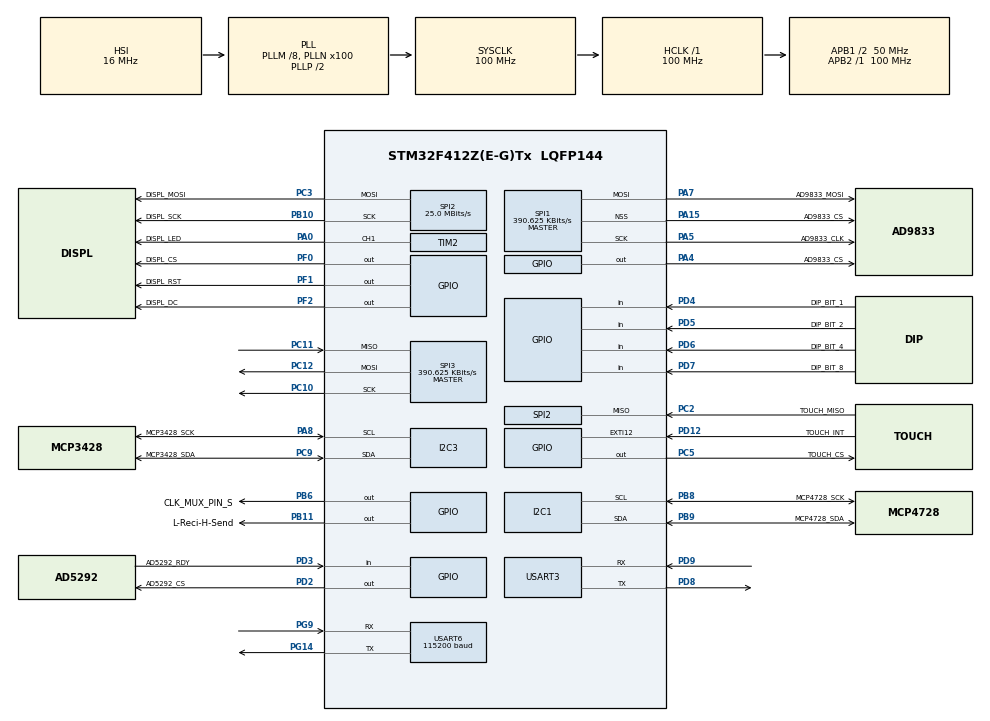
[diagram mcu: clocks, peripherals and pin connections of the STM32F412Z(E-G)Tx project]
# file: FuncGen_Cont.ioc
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Dma.Request0=SPI2_TX
Dma.SPI2_TX.0.Direction=DMA_MEMORY_TO_PERIPH
Dma.SPI2_TX.0.FIFOMode=DMA_FIFOMODE_DISABLE
Dma.SPI2_TX.0.Instance=DMA1_Stream4
Dma.SPI2_TX.0.MemDataAlignment=DMA_MDATAALIGN_BYTE
Dma.SPI2_TX.0.MemInc=DMA_MINC_ENABLE
Dma.SPI2_TX.0.Mode=DMA_NORMAL
Dma.SPI2_TX.0.PeriphDataAlignment=DMA_PDATAALIGN_BYTE
Dma.SPI2_TX.0.PeriphInc=DMA_PINC_DISABLE
Dma.SPI2_TX.0.Priority=DMA_PRIORITY_LOW
IWDG.Prescaler=IWDG_PRESCALER_32
Mcu.Family=STM32F4
Mcu.Name=STM32F412Z(E-G)Tx
Mcu.Package=LQFP144
NVIC.DMA1_Stream4_IRQn=true\:0\:0\:false\:false\:true\:false\:true\:true
NVIC.EXTI15_10_IRQn=true\:2\:0\:true\:false\:true\:true\:true\:true
NVIC.PriorityGroup=NVIC_PRIORITYGROUP_4
NVIC.SPI2_IRQn=true\:1\:0\:true\:false\:true\:true\:true\:true
NVIC.SPI3_IRQn=true\:1\:0\:true\:false\:true\:true\:true\:true
NVIC.TIM3_IRQn=true\:2\:0\:true\:false\:true\:true\:true\:true
NVIC.TIM5_IRQn=true\:3\:0\:true\:false\:true\:true\:true\:true
NVIC.USART3_IRQn=true\:3\:0\:true\:false\:true\:true\:true\:true
NVIC.USART6_IRQn=true\:0\:0\:true\:false\:true\:true\:true\:true
PA0.GPIO_Label=DISPL_LED
PA0.GPIO_Speed=GPIO_SPEED_FREQ_VERY_HIGH
PA0.Signal=S_TIM2_CH1_ETR
PA15.GPIO_Label=AD9833_CS
PA15.Mode=NSS_Signal_Hard_Output
PA15.Signal=SPI1_NSS
PA4.GPIO_Label=AD9833_CS
PA4.GPIO_Speed=GPIO_SPEED_FREQ_LOW
PA4.PinState=GPIO_PIN_SET
PA4.Signal=GPIO_Output
PA5.GPIO_Label=AD9833_CLK
PA5.GPIO_Speed=GPIO_SPEED_FREQ_LOW
PA5.Mode=TX_Only_Simplex_Unidirect_Master
PA5.Signal=SPI1_SCK
PA7.GPIO_Label=AD9833_MOSI
PA7.GPIO_Speed=GPIO_SPEED_FREQ_LOW
PA7.Mode=TX_Only_Simplex_Unidirect_Master
PA7.Signal=SPI1_MOSI
PA8.GPIO_Label=MCP3428_SCK
PA8.Mode=I2C
PA8.Signal=I2C3_SCL
PB10.GPIO_Label=DISPL_SCK
PB10.GPIO_Speed=GPIO_SPEED_FREQ_VERY_HIGH
PB10.Mode=Full_Duplex_Master
PB10.Signal=SPI2_SCK
PB11.GPIO_Label=L-Reci-H-Send
PB11.GPIO_Speed=GPIO_SPEED_FREQ_LOW
PB11.Signal=GPIO_Output
PB6.GPIO_Label=CLK_MUX_PIN_S
PB6.PinState=GPIO_PIN_SET
PB6.Signal=GPIO_Output
PB8.GPIO_Label=MCP4728_SCK
PB8.Mode=I2C
PB8.Signal=I2C1_SCL
PB9.GPIO_Label=MCP4728_SDA
PB9.Mode=I2C
PB9.Signal=I2C1_SDA
PC10.Mode=Full_Duplex_Master
PC10.Signal=SPI3_SCK
PC11.Mode=Full_Duplex_Master
PC11.Signal=SPI3_MISO
PC12.Mode=Full_Duplex_Master
PC12.Signal=SPI3_MOSI
PC2.GPIO_Label=TOUCH_MISO
PC2.GPIO_Speed=GPIO_SPEED_FREQ_VERY_HIGH
PC2.Mode=Full_Duplex_Master
PC2.Signal=SPI2_MISO
PC3.GPIO_Label=DISPL_MOSI
PC3.GPIO_Speed=GPIO_SPEED_FREQ_VERY_HIGH
PC3.Mode=Full_Duplex_Master
PC3.Signal=SPI2_MOSI
PC5.GPIO_Label=TOUCH_CS
PC5.GPIO_Speed=GPIO_SPEED_FREQ_VERY_HIGH
PC5.PinState=GPIO_PIN_SET
PC5.Signal=GPIO_Output
PC9.GPIO_Label=MCP3428_SDA
PC9.Mode=I2C
PC9.Signal=I2C3_SDA
PD12.GPIO_Label=TOUCH_INT
PD12.GPIO_ModeDefaultEXTI=GPIO_MODE_IT_FALLING
PD12.GPIO_PuPd=GPIO_PULLUP
PD12.Signal=GPXTI12
PD2.GPIO_Label=AD5292_CS
PD2.GPIO_Speed=GPIO_SPEED_FREQ_LOW
PD2.PinState=GPIO_PIN_RESET
PD2.Signal=GPIO_Output
PD3.GPIO_Label=AD5292_RDY
PD3.GPIO_PuPd=GPIO_NOPULL
PD3.Signal=GPIO_Input
PD4.GPIO_Label=DIP_BIT_1
PD4.GPIO_PuPd=GPIO_PULLUP
PD4.Signal=GPIO_Input
PD5.GPIO_Label=DIP_BIT_2
PD5.GPIO_PuPd=GPIO_PULLUP
PD5.Signal=GPIO_Input
PD6.GPIO_Label=DIP_BIT_4
PD6.GPIO_PuPd=GPIO_PULLUP
PD6.Signal=GPIO_Input
PD7.GPIO_Label=DIP_BIT_8
PD7.GPIO_PuPd=GPIO_PULLUP
PD7.Signal=GPIO_Input
PD8.Mode=Asynchronous
PD8.Signal=USART3_TX
PD9.Mode=Asynchronous
PD9.Signal=USART3_RX
PF0.GPIO_Label=DISPL_CS
PF0.GPIO_Speed=GPIO_SPEED_FREQ_VERY_HIGH
PF0.PinState=GPIO_PIN_SET
PF0.Signal=GPIO_Output
PF1.GPIO_Label=DISPL_RST
PF1.GPIO_Speed=GPIO_SPEED_FREQ_LOW
PF1.Signal=GPIO_Output
PF2.GPIO_Label=DISPL_DC
PF2.GPIO_Speed=GPIO_SPEED_FREQ_VERY_HIGH
PF2.Signal=GPIO_Output
PG14.GPIO_Speed=GPIO_SPEED_FREQ_LOW
PG14.Mode=Asynchronous
PG14.Signal=USART6_TX
PG9.GPIO_PuPd=GPIO_NOPULL
PG9.GPIO_Speed=GPIO_SPEED_FREQ_LOW
PG9.Mode=Asynchronous
PG9.Signal=USART6_RX
ProjectManager.HeapSize=0x200
ProjectManager.StackSize=0x400
ProjectManager.TargetToolchain=STM32CubeIDE
RCC.AHBFreq_Value=100000000
RCC.APB1CLKDivider=RCC_HCLK_DIV2
RCC.APB1Freq_Value=50000000
RCC.APB1TimFreq_Value=100000000
RCC.APB2Freq_Value=100000000
RCC.APB2TimFreq_Value=100000000
RCC.CortexFreq_Value=100000000
RCC.HCLKFreq_Value=100000000
RCC.PLLM=8
RCC.PLLN=100
RCC.RCC_MCO2Source=RCC_MCO2SOURCE_HSE
RCC.RCC_TIM_PRescaler_Selection=RCC_TIMPRES_ACTIVATED
RCC.SYSCLKFreq_VALUE=100000000
RCC.SYSCLKSource=RCC_SYSCLKSOURCE_PLLCLK
RCC.USBFreq_Value=100000000
RCC.VCOOutputFreq_Value=200000000
SH.S_TIM2_CH1_ETR.0=TIM2_CH1,PWM Generation1 CH1
SPI1.BaudRatePrescaler=SPI_BAUDRATEPRESCALER_256
SPI1.CLKPolarity=SPI_POLARITY_HIGH
SPI1.CalculateBaudRate=390.625 KBits/s
SPI1.DataSize=SPI_DATASIZE_16BIT
SPI1.Direction=SPI_DIRECTION_2LINES
SPI1.Mode=SPI_MODE_MASTER
SPI1.VirtualNSS=VM_NSSHARD
SPI1.VirtualType=VM_MASTER
SPI2.BaudRatePrescaler=SPI_BAUDRATEPRESCALER_2
SPI2.CalculateBaudRate=25.0 MBits/s
SPI2.Direction=SPI_DIRECTION_2LINES
SPI2.Mode=SPI_MODE_MASTER
SPI2.VirtualType=VM_MASTER
SPI3.BaudRatePrescaler=SPI_BAUDRATEPRESCALER_128
SPI3.CLKPhase=SPI_PHASE_2EDGE
SPI3.CLKPolarity=SPI_POLARITY_LOW
SPI3.CalculateBaudRate=390.625 KBits/s
SPI3.DataSize=SPI_DATASIZE_16BIT
SPI3.Direction=SPI_DIRECTION_2LINES
SPI3.Mode=SPI_MODE_MASTER
SPI3.VirtualType=VM_MASTER
STMicroelectronics.X-CUBE-TOUCHGFX.4.23.0.ApplicationCcGraphicsJjApplication=TouchGFXOoGenerator
STMicroelectronics.X-CUBE-TOUCHGFX.4.23.0.tgfx_buffering_strategy=Partial
STMicroelectronics.X-CUBE-TOUCHGFX.4.23.0.tgfx_custom_height=480
STMicroelectronics.X-CUBE-TOUCHGFX.4.23.0.tgfx_custom_width=320
STMicroelectronics.X-CUBE-TOUCHGFX.4.23.0_IsPackSelfContextualization=true
TIM2.Channel-PWM\ Generation1\ CH1=TIM_CHANNEL_1
TIM2.Period=100
TIM2.Prescaler=10000
TIM3.Period=65535
TIM5.AutoReloadPreload=TIM_AUTORELOAD_PRELOAD_ENABLE
TIM5.Period=9999
TIM5.Prescaler=9999
USART3.VirtualMode=VM_ASYNC
USART6.BaudRate=115200
USART6.VirtualMode=VM_ASYNC
VP_CRC_VS_CRC.Mode=CRC_Activate
VP_IWDG_VS_IWDG.Mode=IWDG_Activate
VP_STMicroelectronics.X-CUBE-TOUCHGFX_VS_GraphicsJjApplication_4.23.0.Mode=GraphicsJjApplication
VP_TIM3_VS_ClockSourceINT.Mode=Internal
VP_TIM5_VS_ClockSourceINT.Mode=Internal
board=custom

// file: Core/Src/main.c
/* USER CODE BEGIN Header */
/**
  ******************************************************************************
  * @file           : main.c
  * @brief          : Main program body
  ******************************************************************************
  * @attention
  *
  * Copyright (c) 2025 STMicroelectronics.
  * All rights reserved.
  *
  * This software is licensed under terms that can be found in the LICENSE file
  * in the root directory of this software component.
  * If no LICENSE file comes with this software, it is provided AS-IS.
  *
  ******************************************************************************
  */
/* USER CODE END Header */
#include "main.h"
#include "app_touchgfx.h"

/* USER CODE BEGIN Includes */

#include <stdio.h>
#include "meas_timer.h"
#include "app_remote.h"

/* USER CODE END Includes */

CRC_HandleTypeDef hcrc;

I2C_HandleTypeDef hi2c1;
I2C_HandleTypeDef hi2c3;

IWDG_HandleTypeDef hiwdg;

SPI_HandleTypeDef hspi1;
SPI_HandleTypeDef hspi2;
SPI_HandleTypeDef hspi3;
DMA_HandleTypeDef hdma_spi2_tx;

TIM_HandleTypeDef htim2;
TIM_HandleTypeDef htim3;
TIM_HandleTypeDef htim5;

UART_HandleTypeDef huart3;
UART_HandleTypeDef huart6;

void SystemClock_Config(void);
void PeriphCommonClock_Config(void);
static void MX_GPIO_Init(void);
static void MX_DMA_Init(void);
static void MX_SPI2_Init(void);
static void MX_CRC_Init(void);
static void MX_TIM3_Init(void);
static void MX_TIM2_Init(void);
static void MX_SPI1_Init(void);
static void MX_SPI3_Init(void);
static void MX_I2C1_Init(void);
static void MX_I2C3_Init(void);
static void MX_TIM5_Init(void);
static void MX_USART6_UART_Init(void);
static void MX_USART3_UART_Init(void);
static void MX_IWDG_Init(void);

int main(void)
{

  /* MCU Configuration--------------------------------------------------------*/

  /* Reset of all peripherals, Initializes the Flash interface and the Systick. */
  HAL_Init();

  /* Configure the system clock */
  SystemClock_Config();

  /* Configure the peripherals common clocks */
  PeriphCommonClock_Config();

  /* Initialize all configured peripherals */
  MX_GPIO_Init();
  MX_DMA_Init();
  MX_SPI2_Init();
  MX_CRC_Init();
  MX_TIM3_Init();
  MX_TIM2_Init();
  MX_SPI1_Init();
  MX_SPI3_Init();
  MX_I2C1_Init();
  MX_I2C3_Init();
  MX_TIM5_Init();
  MX_USART6_UART_Init();
  MX_USART3_UART_Init();
  MX_IWDG_Init();
  MX_TouchGFX_Init();
  /* USER CODE BEGIN 2 */
  HAL_Delay(200);

  Displ_Init(Displ_Orientat_180);			// initialize display controller - set orientation parameter as per TouchGFX setup
  HAL_Delay(200);
  //HAL_TIM_PWM_Start(&htim2, TIM_CHANNEL_1);
  //__HAL_TIM_SET_COMPARE(&htim2, TIM_CHANNEL_1, 100);
  HAL_Delay(200);
  MeasTimer_Init(&htim5);
  // TouchGFX 用タイマー IRQ をスタート
  HAL_TIM_Base_Start_IT(&TGFX_T);
  HAL_Delay(200);
  Displ_BackLight('I');  //バックライト初期化
  HAL_Delay(200);
  Displ_BackLight('1');  //輝度最大
  HAL_Delay(200);

  AppRemote_Init();

  /* USER CODE END 2 */

  /* Infinite loop */
  /* USER CODE BEGIN WHILE */
  while (1)
  {

	  //if (Touch_GotATouch(0))
		  //touchgfxSignalVSync();
    /* USER CODE END WHILE */

  MX_TouchGFX_Process();
    /* USER CODE BEGIN 3 */
  AppRemote_Process();
  HAL_IWDG_Refresh(&hiwdg);
  }

  /* USER CODE END 3 */
}

void SystemClock_Config(void)
{
  RCC_OscInitTypeDef RCC_OscInitStruct = {0};
  RCC_ClkInitTypeDef RCC_ClkInitStruct = {0};

  /** Configure the main internal regulator output voltage
  */
  __HAL_RCC_PWR_CLK_ENABLE();
  __HAL_PWR_VOLTAGESCALING_CONFIG(PWR_REGULATOR_VOLTAGE_SCALE1);

  /** Initializes the RCC Oscillators according to the specified parameters
  * in the RCC_OscInitTypeDef structure.
  */
  RCC_OscInitStruct.OscillatorType = RCC_OSCILLATORTYPE_HSI|RCC_OSCILLATORTYPE_LSI;
  RCC_OscInitStruct.HSIState = RCC_HSI_ON;
  RCC_OscInitStruct.HSICalibrationValue = RCC_HSICALIBRATION_DEFAULT;
  RCC_OscInitStruct.LSIState = RCC_LSI_ON;
  RCC_OscInitStruct.PLL.PLLState = RCC_PLL_ON;
  RCC_OscInitStruct.PLL.PLLSource = RCC_PLLSOURCE_HSI;
  RCC_OscInitStruct.PLL.PLLM = 8;
  RCC_OscInitStruct.PLL.PLLN = 100;
  RCC_OscInitStruct.PLL.PLLP = RCC_PLLP_DIV2;
  RCC_OscInitStruct.PLL.PLLQ = 2;
  RCC_OscInitStruct.PLL.PLLR = 2;
  if (HAL_RCC_OscConfig(&RCC_OscInitStruct) != HAL_OK)
  {
    Error_Handler();
  }

  /** Initializes the CPU, AHB and APB buses clocks
  */
  RCC_ClkInitStruct.ClockType = RCC_CLOCKTYPE_HCLK|RCC_CLOCKTYPE_SYSCLK
                              |RCC_CLOCKTYPE_PCLK1|RCC_CLOCKTYPE_PCLK2;
  RCC_ClkInitStruct.SYSCLKSource = RCC_SYSCLKSOURCE_PLLCLK;
  RCC_ClkInitStruct.AHBCLKDivider = RCC_SYSCLK_DIV1;
  RCC_ClkInitStruct.APB1CLKDivider = RCC_HCLK_DIV2;
  RCC_ClkInitStruct.APB2CLKDivider = RCC_HCLK_DIV1;

  if (HAL_RCC_ClockConfig(&RCC_ClkInitStruct, FLASH_LATENCY_3) != HAL_OK)
  {
    Error_Handler();
  }
}

void PeriphCommonClock_Config(void)
{
  RCC_PeriphCLKInitTypeDef PeriphClkInitStruct = {0};

  /** Initializes the peripherals clock
  */
  PeriphClkInitStruct.PeriphClockSelection = RCC_PERIPHCLK_TIM;
  PeriphClkInitStruct.TIMPresSelection = RCC_TIMPRES_ACTIVATED;
  if (HAL_RCCEx_PeriphCLKConfig(&PeriphClkInitStruct) != HAL_OK)
  {
    Error_Handler();
  }
}

static void MX_CRC_Init(void)
{

  hcrc.Instance = CRC;
  if (HAL_CRC_Init(&hcrc) != HAL_OK)
  {
    Error_Handler();
  }

}

static void MX_I2C1_Init(void)
{

  hi2c1.Instance = I2C1;
  hi2c1.Init.ClockSpeed = 100000;
  hi2c1.Init.DutyCycle = I2C_DUTYCYCLE_2;
  hi2c1.Init.OwnAddress1 = 0;
  hi2c1.Init.AddressingMode = I2C_ADDRESSINGMODE_7BIT;
  hi2c1.Init.DualAddressMode = I2C_DUALADDRESS_DISABLE;
  hi2c1.Init.OwnAddress2 = 0;
  hi2c1.Init.GeneralCallMode = I2C_GENERALCALL_DISABLE;
  hi2c1.Init.NoStretchMode = I2C_NOSTRETCH_DISABLE;
  if (HAL_I2C_Init(&hi2c1) != HAL_OK)
  {
    Error_Handler();
  }

}

static void MX_I2C3_Init(void)
{

  hi2c3.Instance = I2C3;
  hi2c3.Init.ClockSpeed = 100000;
  hi2c3.Init.DutyCycle = I2C_DUTYCYCLE_2;
  hi2c3.Init.OwnAddress1 = 0;
  hi2c3.Init.AddressingMode = I2C_ADDRESSINGMODE_7BIT;
  hi2c3.Init.DualAddressMode = I2C_DUALADDRESS_DISABLE;
  hi2c3.Init.OwnAddress2 = 0;
  hi2c3.Init.GeneralCallMode = I2C_GENERALCALL_DISABLE;
  hi2c3.Init.NoStretchMode = I2C_NOSTRETCH_DISABLE;
  if (HAL_I2C_Init(&hi2c3) != HAL_OK)
  {
    Error_Handler();
  }

}

static void MX_IWDG_Init(void)
{

  hiwdg.Instance = IWDG;
  hiwdg.Init.Prescaler = IWDG_PRESCALER_32;
  hiwdg.Init.Reload = 4095;
  if (HAL_IWDG_Init(&hiwdg) != HAL_OK)
  {
    Error_Handler();
  }

}

static void MX_SPI1_Init(void)
{

  /* SPI1 parameter configuration*/
  hspi1.Instance = SPI1;
  hspi1.Init.Mode = SPI_MODE_MASTER;
  hspi1.Init.Direction = SPI_DIRECTION_2LINES;
  hspi1.Init.DataSize = SPI_DATASIZE_16BIT;
  hspi1.Init.CLKPolarity = SPI_POLARITY_HIGH;
  hspi1.Init.CLKPhase = SPI_PHASE_1EDGE;
  hspi1.Init.NSS = SPI_NSS_HARD_OUTPUT;
  hspi1.Init.BaudRatePrescaler = SPI_BAUDRATEPRESCALER_256;
  hspi1.Init.FirstBit = SPI_FIRSTBIT_MSB;
  hspi1.Init.TIMode = SPI_TIMODE_DISABLE;
  hspi1.Init.CRCCalculation = SPI_CRCCALCULATION_DISABLE;
  hspi1.Init.CRCPolynomial = 10;
  if (HAL_SPI_Init(&hspi1) != HAL_OK)
  {
    Error_Handler();
  }

}

static void MX_SPI2_Init(void)
{

  /* SPI2 parameter configuration*/
  hspi2.Instance = SPI2;
  hspi2.Init.Mode = SPI_MODE_MASTER;
  hspi2.Init.Direction = SPI_DIRECTION_2LINES;
  hspi2.Init.DataSize = SPI_DATASIZE_8BIT;
  hspi2.Init.CLKPolarity = SPI_POLARITY_LOW;
  hspi2.Init.CLKPhase = SPI_PHASE_1EDGE;
  hspi2.Init.NSS = SPI_NSS_SOFT;
  hspi2.Init.BaudRatePrescaler = SPI_BAUDRATEPRESCALER_2;
  hspi2.Init.FirstBit = SPI_FIRSTBIT_MSB;
  hspi2.Init.TIMode = SPI_TIMODE_DISABLE;
  hspi2.Init.CRCCalculation = SPI_CRCCALCULATION_DISABLE;
  hspi2.Init.CRCPolynomial = 10;
  if (HAL_SPI_Init(&hspi2) != HAL_OK)
  {
    Error_Handler();
  }

}

static void MX_SPI3_Init(void)
{

  /* SPI3 parameter configuration*/
  hspi3.Instance = SPI3;
  hspi3.Init.Mode = SPI_MODE_MASTER;
  hspi3.Init.Direction = SPI_DIRECTION_2LINES;
  hspi3.Init.DataSize = SPI_DATASIZE_16BIT;
  hspi3.Init.CLKPolarity = SPI_POLARITY_LOW;
  hspi3.Init.CLKPhase = SPI_PHASE_2EDGE;
  hspi3.Init.NSS = SPI_NSS_SOFT;
  hspi3.Init.BaudRatePrescaler = SPI_BAUDRATEPRESCALER_128;
  hspi3.Init.FirstBit = SPI_FIRSTBIT_MSB;
  hspi3.Init.TIMode = SPI_TIMODE_DISABLE;
  hspi3.Init.CRCCalculation = SPI_CRCCALCULATION_DISABLE;
  hspi3.Init.CRCPolynomial = 10;
  if (HAL_SPI_Init(&hspi3) != HAL_OK)
  {
    Error_Handler();
  }

}

static void MX_TIM2_Init(void)
{

  TIM_MasterConfigTypeDef sMasterConfig = {0};
  TIM_OC_InitTypeDef sConfigOC = {0};

  htim2.Instance = TIM2;
  htim2.Init.Prescaler = 10000;
  htim2.Init.CounterMode = TIM_COUNTERMODE_UP;
  htim2.Init.Period = 100;
  htim2.Init.ClockDivision = TIM_CLOCKDIVISION_DIV1;
  htim2.Init.AutoReloadPreload = TIM_AUTORELOAD_PRELOAD_DISABLE;
  if (HAL_TIM_PWM_Init(&htim2) != HAL_OK)
  {
    Error_Handler();
  }
  sMasterConfig.MasterOutputTrigger = TIM_TRGO_RESET;
  sMasterConfig.MasterSlaveMode = TIM_MASTERSLAVEMODE_DISABLE;
  if (HAL_TIMEx_MasterConfigSynchronization(&htim2, &sMasterConfig) != HAL_OK)
  {
    Error_Handler();
  }
  sConfigOC.OCMode = TIM_OCMODE_PWM1;
  sConfigOC.Pulse = 0;
  sConfigOC.OCPolarity = TIM_OCPOLARITY_HIGH;
  sConfigOC.OCFastMode = TIM_OCFAST_DISABLE;
  if (HAL_TIM_PWM_ConfigChannel(&htim2, &sConfigOC, TIM_CHANNEL_1) != HAL_OK)
  {
    Error_Handler();
  }
  HAL_TIM_MspPostInit(&htim2);

}

static void MX_TIM3_Init(void)
{

  TIM_ClockConfigTypeDef sClockSourceConfig = {0};
  TIM_MasterConfigTypeDef sMasterConfig = {0};

  htim3.Instance = TIM3;
  htim3.Init.Prescaler = 0;
  htim3.Init.CounterMode = TIM_COUNTERMODE_UP;
  htim3.Init.Period = 65535;
  htim3.Init.ClockDivision = TIM_CLOCKDIVISION_DIV1;
  htim3.Init.AutoReloadPreload = TIM_AUTORELOAD_PRELOAD_DISABLE;
  if (HAL_TIM_Base_Init(&htim3) != HAL_OK)
  {
    Error_Handler();
  }
  sClockSourceConfig.ClockSource = TIM_CLOCKSOURCE_INTERNAL;
  if (HAL_TIM_ConfigClockSource(&htim3, &sClockSourceConfig) != HAL_OK)
  {
    Error_Handler();
  }
  sMasterConfig.MasterOutputTrigger = TIM_TRGO_RESET;
  sMasterConfig.MasterSlaveMode = TIM_MASTERSLAVEMODE_DISABLE;
  if (HAL_TIMEx_MasterConfigSynchronization(&htim3, &sMasterConfig) != HAL_OK)
  {
    Error_Handler();
  }

}

static void MX_TIM5_Init(void)
{

  TIM_ClockConfigTypeDef sClockSourceConfig = {0};
  TIM_MasterConfigTypeDef sMasterConfig = {0};

  htim5.Instance = TIM5;
  htim5.Init.Prescaler = 9999;
  htim5.Init.CounterMode = TIM_COUNTERMODE_UP;
  htim5.Init.Period = 9999;
  htim5.Init.ClockDivision = TIM_CLOCKDIVISION_DIV1;
  htim5.Init.AutoReloadPreload = TIM_AUTORELOAD_PRELOAD_ENABLE;
  if (HAL_TIM_Base_Init(&htim5) != HAL_OK)
  {
    Error_Handler();
  }
  sClockSourceConfig.ClockSource = TIM_CLOCKSOURCE_INTERNAL;
  if (HAL_TIM_ConfigClockSource(&htim5, &sClockSourceConfig) != HAL_OK)
  {
    Error_Handler();
  }
  sMasterConfig.MasterOutputTrigger = TIM_TRGO_RESET;
  sMasterConfig.MasterSlaveMode = TIM_MASTERSLAVEMODE_DISABLE;
  if (HAL_TIMEx_MasterConfigSynchronization(&htim5, &sMasterConfig) != HAL_OK)
  {
    Error_Handler();
  }

}

static void MX_USART3_UART_Init(void)
{

  huart3.Instance = USART3;
  huart3.Init.BaudRate = 115200;
  huart3.Init.WordLength = UART_WORDLENGTH_8B;
  huart3.Init.StopBits = UART_STOPBITS_1;
  huart3.Init.Parity = UART_PARITY_NONE;
  huart3.Init.Mode = UART_MODE_TX_RX;
  huart3.Init.HwFlowCtl = UART_HWCONTROL_NONE;
  huart3.Init.OverSampling = UART_OVERSAMPLING_16;
  if (HAL_UART_Init(&huart3) != HAL_OK)
  {
    Error_Handler();
  }

}

static void MX_USART6_UART_Init(void)
{

  huart6.Instance = USART6;
  huart6.Init.BaudRate = 115200;
  huart6.Init.WordLength = UART_WORDLENGTH_8B;
  huart6.Init.StopBits = UART_STOPBITS_1;
  huart6.Init.Parity = UART_PARITY_NONE;
  huart6.Init.Mode = UART_MODE_TX_RX;
  huart6.Init.HwFlowCtl = UART_HWCONTROL_NONE;
  huart6.Init.OverSampling = UART_OVERSAMPLING_16;
  if (HAL_UART_Init(&huart6) != HAL_OK)
  {
    Error_Handler();
  }

}

static void MX_DMA_Init(void)
{

  /* DMA controller clock enable */
  __HAL_RCC_DMA1_CLK_ENABLE();

  /* DMA interrupt init */
  /* DMA1_Stream4_IRQn interrupt configuration */
  HAL_NVIC_SetPriority(DMA1_Stream4_IRQn, 0, 0);
  HAL_NVIC_EnableIRQ(DMA1_Stream4_IRQn);

}

static void MX_GPIO_Init(void)
{
  GPIO_InitTypeDef GPIO_InitStruct = {0};

  /* GPIO Ports Clock Enable */
  __HAL_RCC_GPIOF_CLK_ENABLE();
  __HAL_RCC_GPIOC_CLK_ENABLE();
  __HAL_RCC_GPIOA_CLK_ENABLE();
  __HAL_RCC_GPIOB_CLK_ENABLE();
  __HAL_RCC_GPIOD_CLK_ENABLE();
  __HAL_RCC_GPIOG_CLK_ENABLE();

  /*Configure GPIO pin Output Level */
  HAL_GPIO_WritePin(DISPL_CS_GPIO_Port, DISPL_CS_Pin, GPIO_PIN_SET);

  /*Configure GPIO pin Output Level */
  HAL_GPIO_WritePin(GPIOF, DISPL_RST_Pin|DISPL_DC_Pin, GPIO_PIN_RESET);

  /*Configure GPIO pin Output Level */
  HAL_GPIO_WritePin(AD9833_CS_GPIO_Port, AD9833_CS_Pin, GPIO_PIN_SET);

  /*Configure GPIO pin Output Level */
  HAL_GPIO_WritePin(TOUCH_CS_GPIO_Port, TOUCH_CS_Pin, GPIO_PIN_SET);

  /*Configure GPIO pin Output Level */
  HAL_GPIO_WritePin(L_Reci_H_Send_GPIO_Port, L_Reci_H_Send_Pin, GPIO_PIN_RESET);

  /*Configure GPIO pin Output Level */
  HAL_GPIO_WritePin(AD5292_CS_GPIO_Port, AD5292_CS_Pin, GPIO_PIN_RESET);

  /*Configure GPIO pin Output Level */
  HAL_GPIO_WritePin(CLK_MUX_PIN_S_GPIO_Port, CLK_MUX_PIN_S_Pin, GPIO_PIN_SET);

  /*Configure GPIO pins : DISPL_CS_Pin DISPL_DC_Pin */
  GPIO_InitStruct.Pin = DISPL_CS_Pin|DISPL_DC_Pin;
  GPIO_InitStruct.Mode = GPIO_MODE_OUTPUT_PP;
  GPIO_InitStruct.Pull = GPIO_NOPULL;
  GPIO_InitStruct.Speed = GPIO_SPEED_FREQ_VERY_HIGH;
  HAL_GPIO_Init(GPIOF, &GPIO_InitStruct);

  /*Configure GPIO pin : DISPL_RST_Pin */
  GPIO_InitStruct.Pin = DISPL_RST_Pin;
  GPIO_InitStruct.Mode = GPIO_MODE_OUTPUT_PP;
  GPIO_InitStruct.Pull = GPIO_NOPULL;
  GPIO_InitStruct.Speed = GPIO_SPEED_FREQ_LOW;
  HAL_GPIO_Init(DISPL_RST_GPIO_Port, &GPIO_InitStruct);

  /*Configure GPIO pin : AD9833_CS_Pin */
  GPIO_InitStruct.Pin = AD9833_CS_Pin;
  GPIO_InitStruct.Mode = GPIO_MODE_OUTPUT_PP;
  GPIO_InitStruct.Pull = GPIO_NOPULL;
  GPIO_InitStruct.Speed = GPIO_SPEED_FREQ_LOW;
  HAL_GPIO_Init(AD9833_CS_GPIO_Port, &GPIO_InitStruct);

  /*Configure GPIO pin : TOUCH_CS_Pin */
  GPIO_InitStruct.Pin = TOUCH_CS_Pin;
  GPIO_InitStruct.Mode = GPIO_MODE_OUTPUT_PP;
  GPIO_InitStruct.Pull = GPIO_NOPULL;
  GPIO_InitStruct.Speed = GPIO_SPEED_FREQ_VERY_HIGH;
  HAL_GPIO_Init(TOUCH_CS_GPIO_Port, &GPIO_InitStruct);

  /*Configure GPIO pins : L_Reci_H_Send_Pin CLK_MUX_PIN_S_Pin */
  GPIO_InitStruct.Pin = L_Reci_H_Send_Pin|CLK_MUX_PIN_S_Pin;
  GPIO_InitStruct.Mode = GPIO_MODE_OUTPUT_PP;
  GPIO_InitStruct.Pull = GPIO_NOPULL;
  GPIO_InitStruct.Speed = GPIO_SPEED_FREQ_LOW;
  HAL_GPIO_Init(GPIOB, &GPIO_InitStruct);

  /*Configure GPIO pin : TOUCH_INT_Pin */
  GPIO_InitStruct.Pin = TOUCH_INT_Pin;
  GPIO_InitStruct.Mode = GPIO_MODE_IT_FALLING;
  GPIO_InitStruct.Pull = GPIO_PULLUP;
  HAL_GPIO_Init(TOUCH_INT_GPIO_Port, &GPIO_InitStruct);

  /*Configure GPIO pin : AD5292_CS_Pin */
  GPIO_InitStruct.Pin = AD5292_CS_Pin;
  GPIO_InitStruct.Mode = GPIO_MODE_OUTPUT_PP;
  GPIO_InitStruct.Pull = GPIO_NOPULL;
  GPIO_InitStruct.Speed = GPIO_SPEED_FREQ_LOW;
  HAL_GPIO_Init(AD5292_CS_GPIO_Port, &GPIO_InitStruct);

  /*Configure GPIO pin : AD5292_RDY_Pin */
  GPIO_InitStruct.Pin = AD5292_RDY_Pin;
  GPIO_InitStruct.Mode = GPIO_MODE_INPUT;
  GPIO_InitStruct.Pull = GPIO_NOPULL;
  HAL_GPIO_Init(AD5292_RDY_GPIO_Port, &GPIO_InitStruct);

  /*Configure GPIO pins : DIP_BIT_1_Pin DIP_BIT_2_Pin DIP_BIT_4_Pin DIP_BIT_8_Pin */
  GPIO_InitStruct.Pin = DIP_BIT_1_Pin|DIP_BIT_2_Pin|DIP_BIT_4_Pin|DIP_BIT_8_Pin;
  GPIO_InitStruct.Mode = GPIO_MODE_INPUT;
  GPIO_InitStruct.Pull = GPIO_PULLUP;
  HAL_GPIO_Init(GPIOD, &GPIO_InitStruct);

  /* EXTI interrupt init*/
  HAL_NVIC_SetPriority(EXTI15_10_IRQn, 2, 0);
  HAL_NVIC_EnableIRQ(EXTI15_10_IRQn);

}

void Error_Handler(void)
{
  __disable_irq();
  while (1)
  {
  }
}
